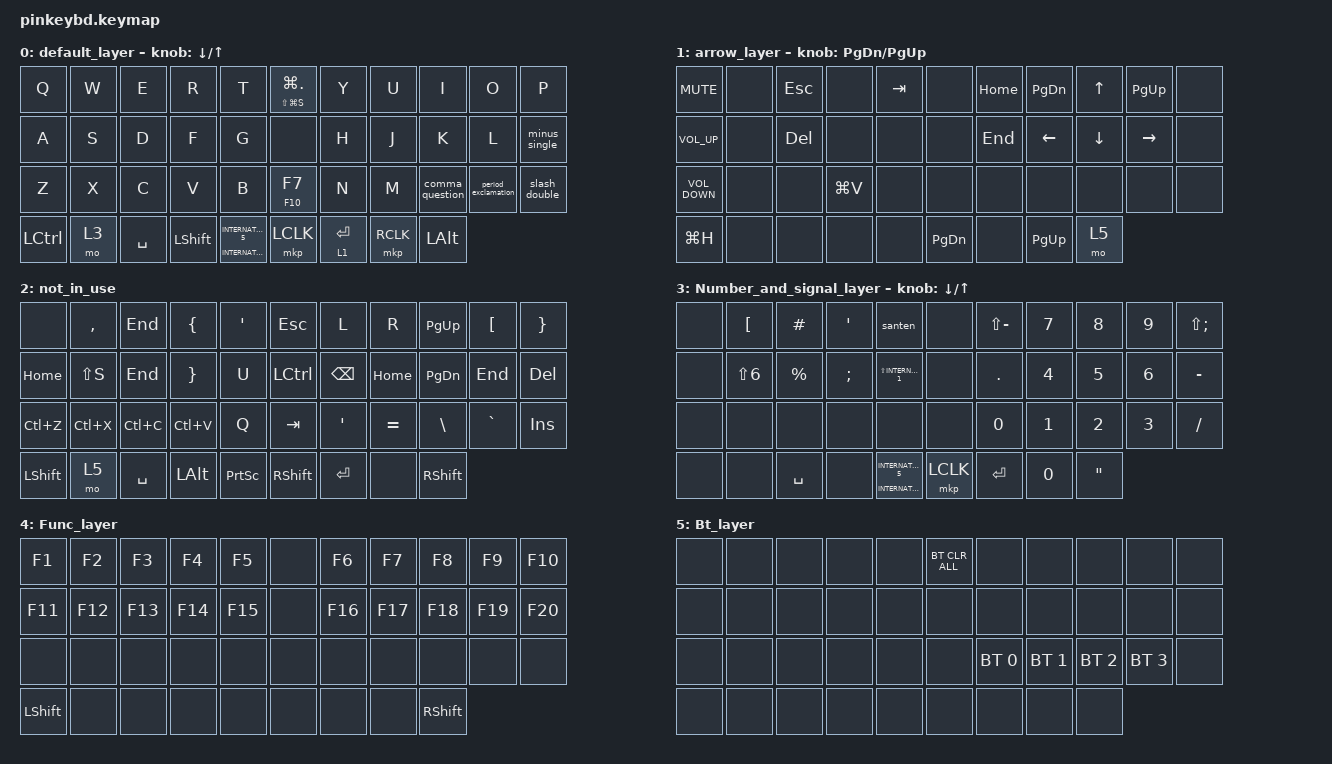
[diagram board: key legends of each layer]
#include <behaviors.dtsi>
#include <dt-bindings/zmk/bt.h>
#include <dt-bindings/zmk/keys.h>
#include <dt-bindings/zmk/pointing.h>

#define ZMK_POINTING_DEFAULT_SCRL_VAL 80

&lt { tapping-term-ms = <140>; };

/ {
    behaviors {
        rot_kp: sensor_rotate_kp {
            compatible = "zmk,behavior-sensor-rotate-var";
            #sensor-binding-cells = <2>;
            bindings = <&kp>, <&kp>;
        };

        minus_single: minus_single {
            compatible = "zmk,behavior-mod-morph";
            label = "MINUS_SINGLE";
            bindings = <&kp MINUS>, <&kp AMPERSAND>;

            #binding-cells = <0>;
            mods = <(MOD_LSFT)>;
        };

        slash_double: slash_double {
            compatible = "zmk,behavior-mod-morph";
            label = "SLASH_DOUBLE";
            bindings = <&kp SLASH>, <&kp AT_SIGN>;

            #binding-cells = <0>;
            mods = <(MOD_LSFT)>;
        };

        period_exclamation: period_exclamation {
            compatible = "zmk,behavior-mod-morph";
            label = "PERIOD_EXCLAMATION";
            bindings = <&kp PERIOD>, <&kp EXCL>;

            #binding-cells = <0>;
            mods = <(MOD_LSFT)>;
        };

        comma_question: comma_question {
            compatible = "zmk,behavior-mod-morph";
            label = "COMMA_QUESTION";
            bindings = <&kp COMMA>, <&kp QUESTION>;

            #binding-cells = <0>;
            mods = <(MOD_LSFT)>;
        };
    };

    combos {
        compatible = "zmk,combos";

        midlle_click {
            bindings = <&mkp MCLK>;
            key-positions = <38 40>;
            layers = <0 3>;
        };

        left_kakko {
            bindings = <&kp LS(NUMBER_8)>;
            key-positions = <2 3>;
            layers = <0 3>;
        };

        right_kakko {
            bindings = <&kp LS(N9)>;
            key-positions = <3 4>;
            layers = <0 3>;
        };

        left_kagi {
            bindings = <&kp RIGHT_BRACKET>;
            key-positions = <13 14>;
            layers = <0 3>;
        };

        right_kagi {
            bindings = <&kp NON_US_HASH>;
            key-positions = <14 15>;
            layers = <0 3>;
        };

        syounari {
            bindings = <&kp LS(COMMA)>;
            key-positions = <24 25>;
            layers = <0 3>;
        };

        dainari {
            bindings = <&kp LS(PERIOD)>;
            key-positions = <25 26>;
            layers = <0 3>;
        };

        backspace {
            bindings = <&kp BACKSPACE>;
            key-positions = <12 14>;
            layers = <0 3>;
        };

        enter {
            bindings = <&kp ENTER>;
            key-positions = <18 20>;
            layers = <0 3>;
        };
    };

    macros {
        santen: santen {
            compatible = "zmk,behavior-macro";
            #binding-cells = <0>;
            bindings = <&kp QUESTION &kp T &kp INTERNATIONAL_4>;
            label = "SANTEN";
        };
    };

    keymap {
        compatible = "zmk,keymap";

        // ---------------------------------------------------------------------------------------------------------------------------------------------------------------------------------------------------------------
        // |        /       |       ,       |       .       |      -        |      ;       |    ESC         |                   |           |       L      |       R       |       D       |       Y       |      P      |
        // |        A       |       O       |       E       |      I        |      U       |    SCROLLLOCK  |                   |           |       G      |       N       |       T       |       S       |      K      |
        // |        X       |       C       |       V       |      W        |      Q       |    TAB         |                   |     F     |       J      |       H       |       M       |       B       |      Z      |
        // |    L_SHIFT     |               |               |   LOWER / Jp  |    Space     |    LEFT_WIN    |                   |  R_SHIFT  |      ENTER   |  LOWER2 / Ja  |               |               |   FUN_L     |
        // ---------------------------------------------------------------------------------------------------------------------------------------------------------------------------------------------------------------

        default_layer {
            bindings = <
&kp Q      &kp W  &kp E      &kp R           &kp T                                &mt LS(LG(S)) LG(PERIOD)  &kp Y        &kp U      &kp I            &kp O                &kp P
&kp A      &kp S  &kp D      &kp F           &kp G                                &none                     &kp H        &kp J      &kp K            &kp L                &minus_single
&kp Z      &kp X  &kp C      &kp V           &kp B                                &mt F10 F7                &kp N        &kp M      &comma_question  &period_exclamation  &slash_double
&kp LCTRL  &mo 3  &kp SPACE  &kp LEFT_SHIFT  &mt INTERNATIONAL_4 INTERNATIONAL_5  &mkp LCLK                 &lt 1 ENTER  &mkp RCLK  &kp LEFT_ALT
            >;

            sensor-bindings = <&rot_kp DOWN UP>;
        };

        // ----------------------------------------------------------------------------------------------------------------------------------------------------------------------------------------------------------------
        // |    /           |       ,       |       END     |     （        |      ”        |    PAUSE_BREAK|                  |            |      （       |       ）     |        ↑      |        [      |      ]      |
        // |    HOME        |       C_SAVE  |       END     |       ）      |       U       |    SCROLLLOCK |                  |            |   Backspace   |       ←      |        ↓      |        →      |     DEL     |
        // |    UNDO        |       CUT     |       COPY    |       PASTE   |       Q       |    TAB        |                  |   PSCRN    |    ' / "      |    = / +     |    \ / |      |    ` / ~      |    INS      |
        // |    L_SHIFT     |               |               |       none    |    SPACE      |    LALT       |                  |   RSHIFT   |   ENTER       |       FUN_L  |               |               |    RCTRL    |
        // ----------------------------------------------------------------------------------------------------------------------------------------------------------------------------------------------------------------

        arrow_layer {
            bindings = <
&kp C_MUTE         &none  &kp ESCAPE  &none      &kp TAB  &none          &kp HOME  &kp PAGE_DOWN  &kp UP    &kp PAGE_UP  &none
&kp C_VOLUME_UP    &none  &kp DELETE  &none      &none    &none          &kp END   &kp LEFT       &kp DOWN  &kp RIGHT    &none
&kp C_VOLUME_DOWN  &none  &none       &kp LG(V)  &none    &none          &none     &none          &none     &none        &none
&kp LG(H)          &none  &none       &none      &none    &kp PAGE_DOWN  &none     &kp PAGE_UP    &mo 5
            >;

            sensor-bindings = <&inc_dec_kp PAGE_DOWN PAGE_UP>;
        };

        // -------------------------------------------------------------------------------------------------------------------------------------------------------------------------------------------------------------
        // |    /           |       ,        |       END     |       {       |       ’      |    ESC        |                  |            |      L      |      R         |    PG_UP      |     {       |      }      |
        // |    HOME        |       C_SAVE   |       END     |       }       |       U      |    LCTRL      |                  |            |  Backspace  |    HOME        |    PG_DN      |    END      |    DEL      |
        // |    UNDO        |       CUT      |       COPY    |       PASTE   |       Q      |    TAB        |                  |      F     |    ' / "    |    = / +       |    \ / |      |    ` / ~    |    INS      |
        // |    L_SHIFT     |                |               |       BT_L    |      SPACE   |    LALT       |                  |   ENTER    |    none     |   R_SHIFT      |               |             |   R_SHIFT   |
        // -------------------------------------------------------------------------------------------------------------------------------------------------------------------------------------------------------------

        not_in_use {
            bindings = <
&none       &kp COMMA  &kp END    &kp LEFT_BRACE   &kp SINGLE_QUOTE  &kp ESC     &kp L      &kp R      &kp PG_UP   &kp LBKT   &kp RBRC
&kp HOME    &kp LS(S)  &kp END    &kp RIGHT_BRACE  &kp U             &kp LCTRL   &kp BSPC   &kp HOME   &kp PG_DN   &kp END    &kp DEL
&kp LC(Z)   &kp LC(X)  &kp LC(C)  &kp LC(V)        &kp Q             &kp TAB     &kp APOS   &kp EQUAL  &kp BSLH    &kp GRAVE  &kp INS
&kp LSHIFT  &mo 5      &kp SPACE  &kp LALT         &kp PSCRN         &kp RSHIFT  &kp ENTER  &none      &kp RSHIFT
            >;
        };

        // --------------------------------------------------------------------------------------------------------------------------------------------------------------------------------------------------------------
        // |        1       |      2        |       3       |       4       |       5       |    ESC        |               |            |      6       |      7        |       8       |       9       |       0       |
        // |        !       |      @        |       #       |       $       |       %       |    none       |               |            |      ^       |      &        |       *       |       (       |       )       | 
        // |        F1      |     F2        |     F3        |       F4      |       F5      |    TAB        |               |     F11    |    ' / "     |    = / +      |    \ / |      |    ` / ~      |       INS     |
        // |    L_SHIFT     |               |               | En / LOWER    |    Space      |    LSIHT      |               |   R_SHIFT  |      ENTER   |     none      |               |               |       R_SHIFT |
        // --------------------------------------------------------------------------------------------------------------------------------------------------------------------------------------------------------------

        Number_and_signal_layer {
            bindings = <
&none  &kp LEFT_BRACKET  &kp HASH     &kp SINGLE_QUOTE  &santen                              &none      &kp LS(MINUS)  &kp N7        &kp N8             &kp N9        &kp LS(SEMICOLON)
&none  &kp LS(NUMBER_6)  &kp PERCENT  &kp SEMICOLON     &kp LS(INTERNATIONAL_1)              &none      &kp PERIOD     &kp NUMBER_4  &kp N5             &kp NUMBER_6  &kp MINUS
&none  &none             &none        &none             &none                                &none      &kp N0         &kp NUMBER_1  &kp NUMBER_2       &kp NUMBER_3  &kp SLASH
&none  &none             &kp SPACE    &none             &mt INTERNATIONAL_4 INTERNATIONAL_5  &mkp LCLK  &kp ENTER      &kp N0        &kp DOUBLE_QUOTES
            >;

            sensor-bindings = <&inc_dec_kp DOWN UP_ARROW>;
        };

        // ---------------------------------------------------------------------------------------------------------------------------------------------------------------------------------
        // |     F1      |     F2     |     F3     |     F4     |    F5      |    none    |                |            |    F6      |    F7      |    F8      |    F9       |     F10     |
        // |     F11     |     F12    |     F13    |     F14    |    F15     |    none    |                |   none     |    F16     |    F17     |    F18     |    F19      |     F20     |
        // |     none    |    none    |    none    |    none    |   none     |    none    |                |   none     |    none    |    none    |    none    |    none     |     none    |
        // |     L_SHIFT |    none    |    none    |    none    |   none     |    none    |                |   none     |    none    |    none    |    none    |    none     |     R_SHIFT |
        // ---------------------------------------------------------------------------------------------------------------------------------------------------------------------------------

        Func_layer {
            bindings = <
&kp F1      &kp F2   &kp F3   &kp F4   &kp F5   &none  &kp F6   &kp F7   &kp F8      &kp F9   &kp F10
&kp F11     &kp F12  &kp F13  &kp F14  &kp F15  &none  &kp F16  &kp F17  &kp F18     &kp F19  &kp F20
&none       &none    &none    &none    &none    &none  &none    &none    &none       &none    &none
&kp LSHIFT  &none    &none    &none    &none    &none  &none    &none    &kp RSHIFT
            >;
        };

        // --------------------------------------------------------------------------------------------------------------------------------------------------------------------------------
        // |    none    |    none    |    none    |    none    |   none     |    none    |                  |            |    none    |    none    |    none    |   none     |    none    |
        // |  BT_SEL 0  |  BT_SEL 1  |  BT_SEL 2  |  BT_SEL 3  |   none     |    none    |                  |            |    none    |    none    |    none    |   BT_CLR   | BT_CLR_ALL |
        // |    none    |    none    |    none    |    none    |   none     |    none    |                  |    none    |    none    |   BT_PRV   |    none    |   BT_NXT   |    none    |
        // |    none    |    none    |    none    |    none    |   none     |    none    |                  |    none    |    none    |    none    |    none    |   none     |    none    |
        // --------------------------------------------------------------------------------------------------------------------------------------------------------------------------------

        Bt_layer {
            bindings = <
&none  &none  &none  &none  &none  &bt BT_CLR_ALL  &none         &none         &none         &none         &none
&none  &none  &none  &none  &none  &none           &none         &none         &none         &none         &none
&none  &none  &none  &none  &none  &none           &bt BT_SEL 0  &bt BT_SEL 1  &bt BT_SEL 2  &bt BT_SEL 3  &none
&none  &none  &none  &none  &none  &none           &none         &none         &none
            >;
        };
    };
};
